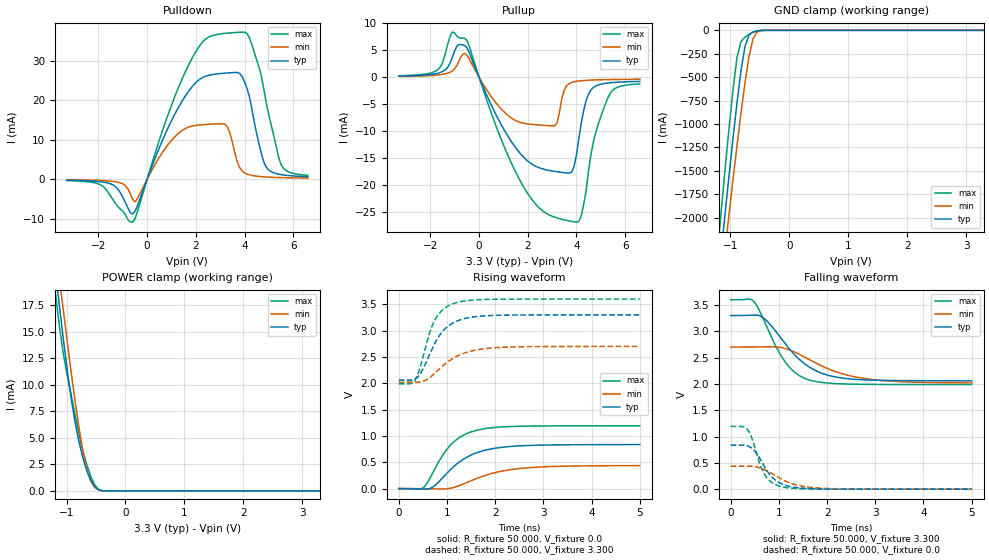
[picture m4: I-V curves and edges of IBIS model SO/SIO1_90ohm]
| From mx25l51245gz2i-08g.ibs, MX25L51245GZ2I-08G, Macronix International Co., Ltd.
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|   Model SO/SIO1_90ohm
[Model] SO/SIO1_90ohm
Model_type I/O
Vinl = 0.8
Vinh = 2.31
Vmeas = 1.65
Vref = 3.3
Cref = 30pF
Rref = 25000
Polarity   Non-Inverting
Enable   Active-High
C_comp   6.217pF   5.640pF   6.942pF
[Temperature Range]   25.000   85.000   -40.000
[Voltage Range]   3.300V   2.700V   3.600V
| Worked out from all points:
|   slope of the pulldown table from 0 to 0.495 V, typ, clamps not added: 62.7 ohm
|   slope of the pullup table from 0 to 0.495 V, typ, clamps not added: 97.7 ohm
|   GND clamp passes 1 mA (typ) near -0.46 V on its own axis
|   POWER clamp passes 1 mA (typ) near -0.59 V on its own axis
|   rising waveform, R_fixture 50.000, V_fixture 0.0: 20-80 % time 709ps typ, 908ps min, 562ps max; typ from 0 V to 0.836 V
|   rising waveform, R_fixture 50.000, V_fixture 3.300: 20-80 % time 458ps typ, 620ps min, 354ps max; typ from 2.06 V to 3.3 V
|   falling waveform, R_fixture 50.000, V_fixture 3.300: 20-80 % time 764ps typ, 1.05ns min, 570ps max; typ from 3.3 V to 2.06 V
|   falling waveform, R_fixture 50.000, V_fixture 0.0: 20-80 % time 389ps typ, 585ps min, 289ps max; typ from 0.837 V to 0 V
[Pulldown]
|Voltage   I(typ)   I(min)   I(max)
-3.3V     -255uA     -156uA     -347uA
-2V       -595.4uA   -308.2uA   -1.2mA
-1.4V     -1.465mA   -564.5uA   -5.264mA
-600mV    -8.806mA   -5.066mA   -10.9mA
900mV     13.56mA    9.088mA    17.07mA
1.9V      23.81mA    13.52mA    31.27mA
3.2V      26.86mA    13.89mA    36.95mA
3.9V      25.97mA    2.071mA    37.26mA
4.3V      17.83mA    942.6uA    34.11mA
4.9V      2.961mA    545.7uA    19.1mA
5.5V      1.153mA    403.7uA    3.697mA
6.6V      642.2uA    293.6uA    974.8uA
[Pullup]
|Voltage   I(typ)   I(min)   I(max)
-3.3V     215.7uA    150.4uA    272.9uA
-1.8V     646.5uA    377.3uA    1.108mA
-1.1V     3.661mA    1.176mA    8.358mA
-600mV    5.887mA    4.428mA    7.227mA
1.8V      -14.64mA   -8.47mA    -20.04mA
3.1V      -17.4mA    -8.969mA   -25.86mA
3.5V      -17.64mA   -2.273mA   -26.37mA
4V        -14.37mA   -753uA     -26.8mA
4.2V      -8.385mA   -640.7uA   -25.53mA
4.5V      -3.049mA   -540.1uA   -17.08mA
5.3V      -1.061mA   -429uA     -3.717mA
6.6V      -764uA     -368uA     -1.216mA
[GND_clamp]
|Voltage   I(typ)   I(min)   I(max)
-3.3V     -16.24A    -15.3A     -17.39A
-1.223V   -2.784A    -3.093A    -2.393A
-1.156V   -2.365A    -2.711A    -1.93A
-1.089V   -1.952A    -2.332A    -1.476A
-1.022V   -1.546A    -1.958A    -1.038A
-888mV    -775.7mA   -1.232A    -291.2mA
-821mV    -437.1mA   -887.9mA   -120.5mA
-754mV    -176.9mA   -567.1mA   -74.52mA
-620mV    -19.15mA   -98.31mA   -20.19mA
-553mV    -6.822mA   -19.92mA   -6.551mA
-419mV    -216.9uA   -422uA     -102.7uA
3.3V      0A         0A         0A
[POWER_clamp]
|Voltage   I(typ)   I(min)   I(max)
-3.266V   131.1mA    125.3mA    138.5mA
-1.189V   20.74mA    23.17mA    18.61mA
-1.122V   17.48mA    20.07mA    15.53mA
-1.055V   14.33mA    17.02mA    12.93mA
-921mV    8.689mA    11.15mA    9.028mA
-854mV    6.435mA    8.4mA      7.156mA
-787mV    4.584mA    5.871mA    5.294mA
-720mV    3.042mA    3.682mA    3.69mA
-653mV    1.85mA     1.981mA    2.403mA
-586mV    995.3uA    869.3uA    1.328mA
-452mV    95.57uA    70.93uA    116.2uA
3.3V      0A         0A         0A
[Ramp]
| variable   typ   min   max
dV/dt_r   0.502/0.708n   0.262/0.905n   0.716/0.561n
dV/dt_f   0.744/0.766n   0.408/1.051n   0.967/0.568n
R_load = 50.000
[Rising Waveform]
R_fixture= 50.000
V_fixture= 0.0
V_fixture_min= 0.0
V_fixture_max= 0.0
|time   V(typ)   V(min)   V(max)
0s        2.039uV    2.034uV    1.946uV
508ps     -9.578mV   -1.987mV   17.8mV
728ps     44.82mV    -6.466mV   337.9mV
908ps     202mV      -8.694mV   629.2mV
1.068ns   356mV      7.143mV    820.4mV
1.308ns   538.7mV    76.07mV    997.9mV
1.598ns   674.5mV    186mV      1.104V
2.087ns   778.2mV    321.9mV    1.168V
2.658ns   818mV      393.9mV    1.187V
5ns       836mV      436.6mV    1.193V
[Rising Waveform]
R_fixture= 50.000
V_fixture= 3.300
V_fixture_min= 2.700
V_fixture_max= 3.600
|time   V(typ)   V(min)   V(max)
0s        2.059V     2.018V     1.989V
329ps     2.074V     2.017V     2.05V
478ps     2.229V     2.032V     2.412V
628ps     2.522V     2.096V     2.926V
737ps     2.739V     2.18V      3.179V
908ps     2.984V     2.327V     3.392V
1.138ns   3.152V     2.481V     3.516V
1.508ns   3.255V     2.614V     3.58V
2.027ns   3.291V     2.677V     3.597V
5ns       3.3V       2.7V       3.6V
[Falling Waveform]
R_fixture= 50.000
V_fixture= 3.300
V_fixture_min= 2.700
V_fixture_max= 3.600
|time   V(typ)   V(min)   V(max)
0s        3.3V       2.7V       3.6V
480ps     3.311V     2.702V     3.567V
724ps     3.222V     2.707V     3.139V
940ps     2.995V     2.704V     2.711V
1.11ns    2.789V     2.678V     2.446V
1.334ns   2.548V     2.603V     2.217V
1.594ns   2.344V     2.48V      2.086V
2.074ns   2.153V     2.269V     2.012V
2.8ns     2.077V     2.1V       1.992V
5ns       2.059V     2.02V      1.989V
[Falling Waveform]
R_fixture= 50.000
V_fixture= 0.0
V_fixture_min= 0.0
V_fixture_max= 0.0
|time   V(typ)   V(min)   V(max)
0s        836.6mV    437.6mV    1.193V
350ps     822.5mV    438.2mV    1.131V
430ps     783.2mV    435.4mV    994.4mV
514ps     707.9mV    426mV      748.2mV
700ps     429.6mV    371.8mV    287.1mV
840ps     247.4mV    305.4mV    137.2mV
1.038ns   109.4mV    198.3mV    51.36mV
1.394ns   27.36mV    73.77mV    11.04mV
1.869ns   5.67mV     18.97mV    2.153mV
5ns       151.9uV    98.21uV    188.7uV
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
